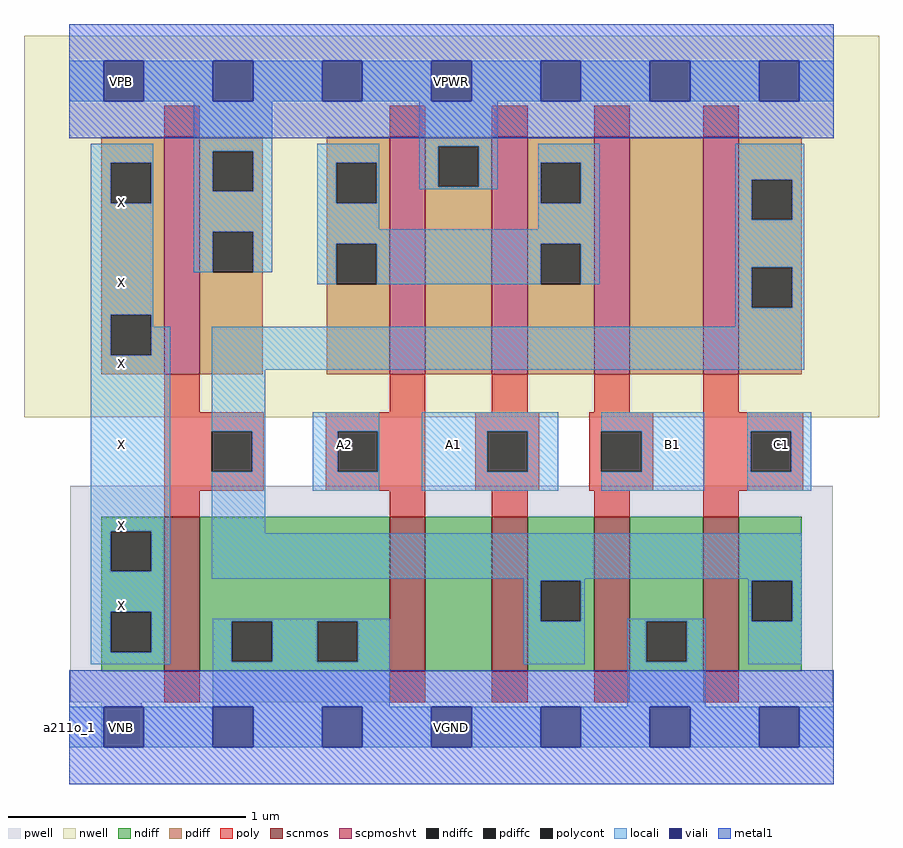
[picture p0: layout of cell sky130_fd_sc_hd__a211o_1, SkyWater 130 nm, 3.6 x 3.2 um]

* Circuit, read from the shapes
.subckt sky130_fd_sc_hd__a211o_1 A1 A2 B1 C1 VGND VNB VPB VPWR X
XM1 VGND n1 X VNB sky130_fd_pr__nfet_01v8 w=0.65 l=0.15
XM2 n2 A2 VGND VNB sky130_fd_pr__nfet_01v8 w=0.65 l=0.15
XM3 n1 A1 n2 VNB sky130_fd_pr__nfet_01v8 w=0.65 l=0.15
XM4 VGND B1 n1 VNB sky130_fd_pr__nfet_01v8 w=0.65 l=0.15
XM5 n1 C1 VGND VNB sky130_fd_pr__nfet_01v8 w=0.65 l=0.15
XM6 VPWR n1 X VPB sky130_fd_pr__pfet_01v8_hvt w=1 l=0.15
XM7 VPWR A2 n3 VPB sky130_fd_pr__pfet_01v8_hvt w=1 l=0.15
XM8 n3 A1 VPWR VPB sky130_fd_pr__pfet_01v8_hvt w=1 l=0.15
XM9 n4 B1 n3 VPB sky130_fd_pr__pfet_01v8_hvt w=1 l=0.15
XM10 n1 C1 n4 VPB sky130_fd_pr__pfet_01v8_hvt w=1 l=0.15
.ends

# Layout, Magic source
magic
tech sky130A
magscale 1 2
<< nwell >>
rect -38 261 682 582
<< pwell >>
rect 1 21 643 203
rect 27 -17 61 21
<< scnmos >>
rect 80 47 110 177
rect 270 47 300 177
rect 356 47 386 177
rect 442 47 472 177
rect 534 47 564 177
<< scpmoshvt >>
rect 80 297 110 497
rect 270 297 300 497
rect 356 297 386 497
rect 442 297 472 497
rect 534 297 564 497
<< ndiff >>
rect 27 165 80 177
rect 27 131 35 165
rect 69 131 80 165
rect 27 97 80 131
rect 27 63 35 97
rect 69 63 80 97
rect 27 47 80 63
rect 110 89 270 177
rect 110 55 137 89
rect 171 55 209 89
rect 243 55 270 89
rect 110 47 270 55
rect 300 47 356 177
rect 386 123 442 177
rect 386 89 397 123
rect 431 89 442 123
rect 386 47 442 89
rect 472 89 534 177
rect 472 55 486 89
rect 520 55 534 89
rect 472 47 534 55
rect 564 123 617 177
rect 564 89 575 123
rect 609 89 617 123
rect 564 47 617 89
<< pdiff >>
rect 27 475 80 497
rect 27 441 35 475
rect 69 441 80 475
rect 27 347 80 441
rect 27 313 35 347
rect 69 313 80 347
rect 27 297 80 313
rect 110 485 163 497
rect 110 451 121 485
rect 155 451 163 485
rect 110 417 163 451
rect 110 383 121 417
rect 155 383 163 417
rect 110 297 163 383
rect 217 475 270 497
rect 217 441 225 475
rect 259 441 270 475
rect 217 407 270 441
rect 217 373 225 407
rect 259 373 270 407
rect 217 297 270 373
rect 300 489 356 497
rect 300 455 311 489
rect 345 455 356 489
rect 300 297 356 455
rect 386 475 442 497
rect 386 441 397 475
rect 431 441 442 475
rect 386 407 442 441
rect 386 373 397 407
rect 431 373 442 407
rect 386 297 442 373
rect 472 297 534 497
rect 564 461 617 497
rect 564 427 575 461
rect 609 427 617 461
rect 564 387 617 427
rect 564 353 575 387
rect 609 353 617 387
rect 564 297 617 353
<< ndiffc >>
rect 35 131 69 165
rect 35 63 69 97
rect 137 55 171 89
rect 209 55 243 89
rect 397 89 431 123
rect 486 55 520 89
rect 575 89 609 123
<< pdiffc >>
rect 35 441 69 475
rect 35 313 69 347
rect 121 451 155 485
rect 121 383 155 417
rect 225 441 259 475
rect 225 373 259 407
rect 311 455 345 489
rect 397 441 431 475
rect 397 373 431 407
rect 575 427 609 461
rect 575 353 609 387
<< poly >>
rect 80 497 110 523
rect 270 497 300 523
rect 356 497 386 523
rect 442 497 472 523
rect 534 497 564 523
rect 80 265 110 297
rect 270 265 300 297
rect 356 265 386 297
rect 442 265 472 297
rect 534 265 564 297
rect 80 249 164 265
rect 80 215 120 249
rect 154 215 164 249
rect 80 199 164 215
rect 216 249 300 265
rect 216 215 226 249
rect 260 215 300 249
rect 216 199 300 215
rect 342 249 396 265
rect 342 215 352 249
rect 386 215 396 249
rect 342 199 396 215
rect 438 249 492 265
rect 438 215 448 249
rect 482 215 492 249
rect 438 199 492 215
rect 534 249 618 265
rect 534 215 574 249
rect 608 215 618 249
rect 534 199 618 215
rect 80 177 110 199
rect 270 177 300 199
rect 356 177 386 199
rect 442 177 472 199
rect 534 177 564 199
rect 80 21 110 47
rect 270 21 300 47
rect 356 21 386 47
rect 442 21 472 47
rect 534 21 564 47
<< polycont >>
rect 120 215 154 249
rect 226 215 260 249
rect 352 215 386 249
rect 448 215 482 249
rect 574 215 608 249
<< locali >>
rect 0 527 29 561
rect 63 527 121 561
rect 155 527 213 561
rect 247 527 305 561
rect 339 527 397 561
rect 431 527 489 561
rect 523 527 581 561
rect 615 527 644 561
rect 18 475 71 491
rect 18 441 35 475
rect 69 441 71 475
rect 18 347 71 441
rect 105 485 171 527
rect 105 451 121 485
rect 155 451 171 485
rect 105 417 171 451
rect 105 383 121 417
rect 155 383 171 417
rect 209 475 261 491
rect 209 441 225 475
rect 259 441 261 475
rect 295 489 361 527
rect 295 455 311 489
rect 345 455 361 489
rect 295 453 361 455
rect 395 475 447 491
rect 209 419 261 441
rect 395 441 397 475
rect 431 441 447 475
rect 395 419 447 441
rect 209 407 447 419
rect 209 373 225 407
rect 259 373 397 407
rect 431 373 447 407
rect 561 461 619 491
rect 561 427 575 461
rect 609 427 619 461
rect 561 387 619 427
rect 18 313 35 347
rect 69 337 71 347
rect 561 353 575 387
rect 609 353 619 387
rect 561 337 619 353
rect 69 313 85 337
rect 18 165 85 313
rect 18 131 35 165
rect 69 131 85 165
rect 18 97 85 131
rect 120 301 619 337
rect 120 249 165 301
rect 154 215 165 249
rect 120 163 165 215
rect 205 249 261 265
rect 205 215 226 249
rect 260 215 261 249
rect 205 199 261 215
rect 297 249 412 265
rect 297 215 352 249
rect 386 215 412 249
rect 297 199 412 215
rect 448 249 535 265
rect 482 215 535 249
rect 448 199 535 215
rect 571 249 625 265
rect 571 215 574 249
rect 608 215 625 249
rect 571 199 625 215
rect 120 125 617 163
rect 18 63 35 97
rect 69 63 85 97
rect 383 123 434 125
rect 18 53 85 63
rect 121 89 270 91
rect 121 55 137 89
rect 171 55 209 89
rect 243 55 270 89
rect 121 17 270 55
rect 383 89 397 123
rect 431 89 434 123
rect 572 123 617 125
rect 383 53 434 89
rect 470 89 536 91
rect 470 55 486 89
rect 520 55 536 89
rect 470 17 536 55
rect 572 89 575 123
rect 609 89 617 123
rect 572 53 617 89
rect 0 -17 29 17
rect 63 -17 121 17
rect 155 -17 213 17
rect 247 -17 305 17
rect 339 -17 397 17
rect 431 -17 489 17
rect 523 -17 581 17
rect 615 -17 644 17
<< viali >>
rect 29 527 63 561
rect 121 527 155 561
rect 213 527 247 561
rect 305 527 339 561
rect 397 527 431 561
rect 489 527 523 561
rect 581 527 615 561
rect 29 -17 63 17
rect 121 -17 155 17
rect 213 -17 247 17
rect 305 -17 339 17
rect 397 -17 431 17
rect 489 -17 523 17
rect 581 -17 615 17
<< metal1 >>
rect 0 561 644 592
rect 0 527 29 561
rect 63 527 121 561
rect 155 527 213 561
rect 247 527 305 561
rect 339 527 397 561
rect 431 527 489 561
rect 523 527 581 561
rect 615 527 644 561
rect 0 496 644 527
rect 0 17 644 48
rect 0 -17 29 17
rect 63 -17 121 17
rect 155 -17 213 17
rect 247 -17 305 17
rect 339 -17 397 17
rect 431 -17 489 17
rect 523 -17 581 17
rect 615 -17 644 17
rect 0 -48 644 -17
<< labels >>
flabel pwell s 27 -17 61 17 0 FreeSans 200 0 0 0 VNB
port 6 nsew ground bidirectional
flabel nwell s 27 527 61 561 0 FreeSans 200 0 0 0 VPB
port 7 nsew power bidirectional
flabel metal1 s 27 -17 61 17 0 FreeSans 200 0 0 0 VGND
port 5 nsew ground bidirectional abutment
flabel metal1 s 27 527 61 561 0 FreeSans 200 0 0 0 VPWR
port 8 nsew power bidirectional abutment
flabel locali s 27 425 61 459 0 FreeSans 200 0 0 0 X
port 9 nsew signal output
flabel locali s 27 85 61 119 0 FreeSans 200 0 0 0 X
port 9 nsew signal output
flabel locali s 215 221 249 255 0 FreeSans 200 0 0 0 A2
port 2 nsew signal input
flabel locali s 27 357 61 391 0 FreeSans 200 0 0 0 X
port 9 nsew signal output
flabel locali s 491 221 525 255 0 FreeSans 200 0 0 0 B1
port 3 nsew signal input
flabel locali s 27 221 61 255 0 FreeSans 200 0 0 0 X
port 9 nsew signal output
flabel locali s 307 221 341 255 0 FreeSans 200 0 0 0 A1
port 1 nsew signal input
flabel locali s 27 153 61 187 0 FreeSans 200 0 0 0 X
port 9 nsew signal output
flabel locali s 27 289 61 323 0 FreeSans 200 0 0 0 X
port 9 nsew signal output
flabel locali s 583 221 617 255 0 FreeSans 200 0 0 0 C1
port 4 nsew signal input
rlabel comment s 0 0 0 0 4 a211o_1
rlabel metal1 s 0 -48 644 48 1 VGND
port 5 nsew ground bidirectional abutment
rlabel metal1 s 0 496 644 592 1 VPWR
port 8 nsew power bidirectional abutment
<< properties >>
string FIXED_BBOX 0 0 644 544
string GDS_END 3627924
string GDS_FILE $PDKPATH/libs.ref/sky130_fd_sc_hd/gds/sky130_fd_sc_hd.gds
string GDS_START 3621578
string LEFclass CORE
string LEFsite unithd
string LEFsymmetry X Y R90
string path 0.000 0.000 16.100 0.000 
<< end >>
